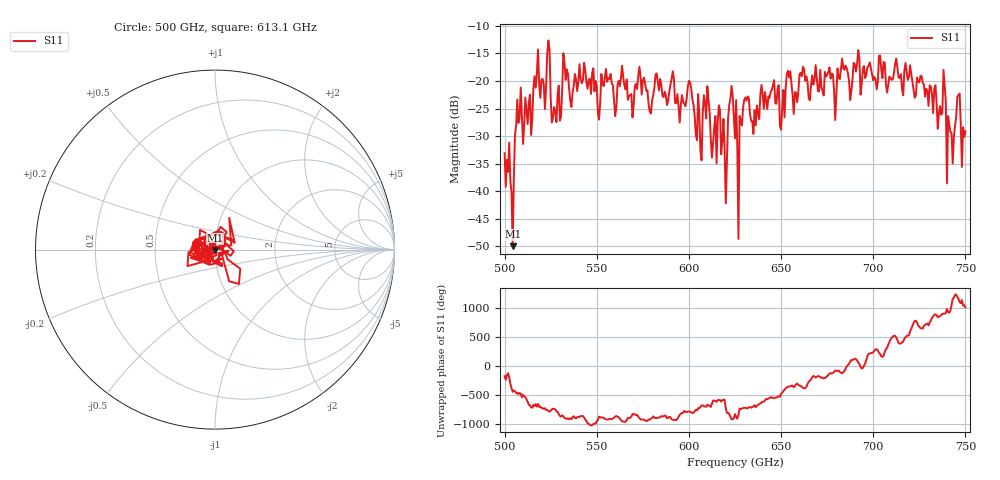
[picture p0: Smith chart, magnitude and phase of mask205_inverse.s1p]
!Created with skrf (http://scikit-rf.org).
# GHz S MA R 50.0
!freq magS11 angS11
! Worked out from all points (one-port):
!   401 points, 500 GHz to 750 GHz, reference 50 ohm
!   lowest |S11| = -50.0 dB at 504.4 GHz (marker M1), VSWR 1.01, Z = 50 - j0.316 ohm
!   |S11| at or under -10 dB: start of sweep to end of sweep
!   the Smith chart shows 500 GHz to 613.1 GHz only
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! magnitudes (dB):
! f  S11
! 500 GHz  -33.1
! 504.4 GHz  -50.0
! 507.5 GHz  -27.6
! 513.8 GHz  -22.5
! 516.9 GHz  -21.2
! 523.8 GHz  -12.6
! 526.9 GHz  -24.7
! 531.2 GHz  -21.5
! 562.5 GHz  -21.0
! 579.4 GHz  -25.9
! 590.6 GHz  -19.6
! 593.8 GHz  -22.4
! 600.6 GHz  -20.2
! 605.6 GHz  -25.9
! 609.4 GHz  -26.8
! 619.4 GHz  -32.6
! 622.5 GHz  -23.2
! 625 GHz  -30.4
! 627.5 GHz  -26.3
! 631.2 GHz  -23.6
! 635 GHz  -29.6
! 656.2 GHz  -22.6
! 687.5 GHz  -23.5
! 718.8 GHz  -19.8
! 738.1 GHz  -18.0
! 741.2 GHz  -28.0
! 745.6 GHz  -22.8
! 750 GHz  -29.1
